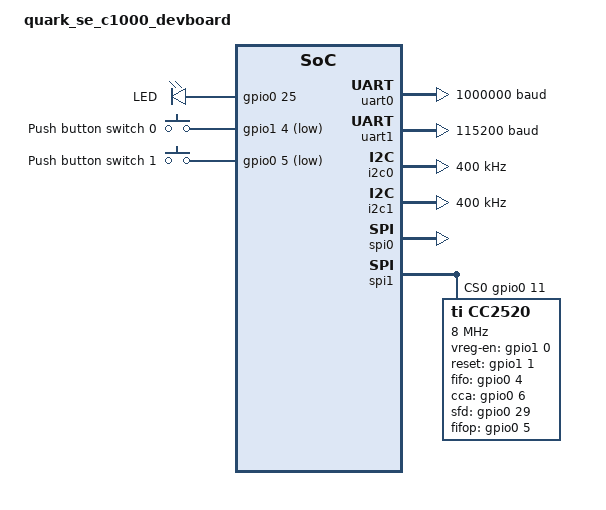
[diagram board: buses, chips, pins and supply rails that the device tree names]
/* SPDX-License-Identifier: Apache-2.0 */

/dts-v1/;

#include <mem.h>

#define DT_FLASH_SIZE		DT_SIZE_K(144)
#define DT_SRAM_SIZE		DT_SIZE_K(52)

#include "intel_curie.dtsi"

/ {
	model = "quark_se_c1000_devboard";
	compatible = "intel,quark_se_c1000_devboard", "intel,quark_se_c1000";

	aliases {
		led0 = &led0;
		sw0 = &button0;
		sw1 = &button1;
		uart-0 = &uart0;
		uart-1 = &uart1;
	};

	chosen {
		zephyr,sram = &sram0;
		zephyr,flash = &flash1;
		zephyr,console = &uart1;
		zephyr,shell-uart = &uart1;
		zephyr,bt-uart = &uart0;
		zephyr,uart-pipe = &uart1;
		zephyr,bt-mon-uart = &uart1;
	};

	leds {
		compatible = "gpio-leds";
		led0: led_0 {
			gpios = <&gpio0 25 0>;
			label = "LED";
		};
	};

	buttons {
		/* Push button switch 0 KEY1 */
		compatible = "gpio-keys";
		button0: button_0 {
			/* gpio flags need validation */
			gpios = <&gpio1 4 GPIO_INT_ACTIVE_LOW>;
			label = "Push button switch 0";
		};
		button1: button_1 {
			/* gpio flags need validation */
			gpios = <&gpio0 5 GPIO_INT_ACTIVE_LOW>;
			label = "Push button switch 1";
		};
	};
};

&uart0 {
	status = "ok";
	current-speed = <1000000>;
};

&uart1 {
	status = "ok";
	current-speed = <115200>;
};

&i2c0 {
	status = "ok";
	clock-frequency = <I2C_BITRATE_FAST>;
};

&i2c1 {
	status = "ok";
	clock-frequency = <I2C_BITRATE_FAST>;
};

&spi0 {
	status = "ok";
};

&spi1 {
	status = "ok";
	cs-gpios = <&gpio0 11 0>;

	cc2520@0 {
		compatible = "ti,cc2520";
		reg = <0x0>;
		label = "cc2520";
		spi-max-frequency = <8000000>;
		status = "ok";
		vreg-en-gpios = <&gpio1 0 0>;
		reset-gpios = <&gpio1 1 0>;
		fifo-gpios = <&gpio0 4 0>;
		cca-gpios = <&gpio0 6 0>;
		sfd-gpios = <&gpio0 29 0>;
		fifop-gpios = <&gpio0 5 0>;
	};
};
